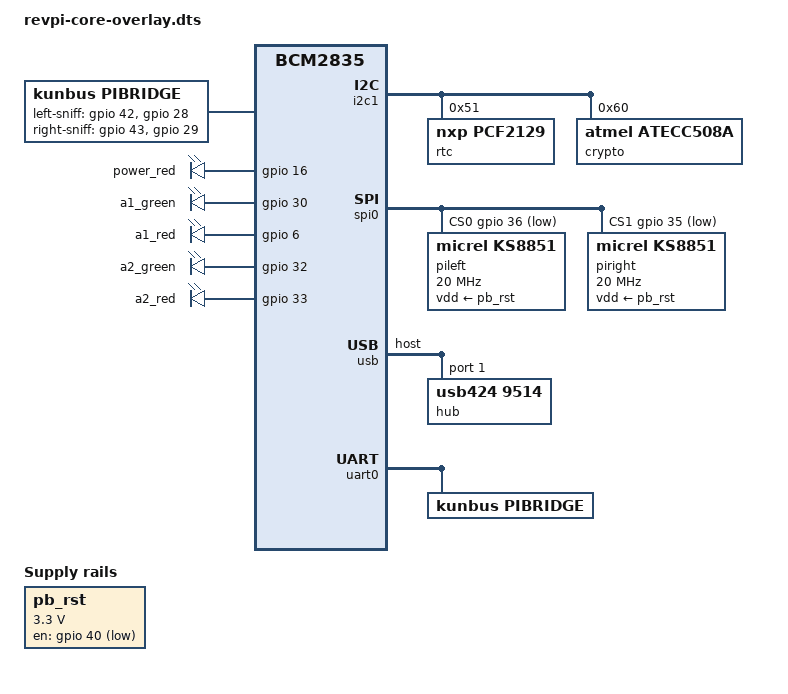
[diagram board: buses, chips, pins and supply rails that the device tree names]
/*
 * Device tree overlay for Revolution Pi by KUNBUS
 *
 * RevPi Core 3
 */

/dts-v1/;
/plugin/;
#include <dt-bindings/gpio/gpio.h>
#include <dt-bindings/pinctrl/bcm2835.h>

/{
	compatible = "brcm,bcm2835", "brcm,bcm2837";

	fragment@0 {
		target-path = "/";
		__overlay__ {
			compatible = "kunbus,revpi-core", "brcm,bcm2837",
				     "brcm,bcm2836", "brcm,bcm2835";

			pibridge {
				compatible = "kunbus,pibridge";
				pinctrl-names = "default";
				pinctrl-0 = <&sniff_pins>;

				/* Sniff pins 1A and 2A */
				left-sniff-gpios = <&gpio 42 GPIO_ACTIVE_HIGH>,
						   <&gpio 28 GPIO_ACTIVE_HIGH>;
				/* Sniff pins 1B and 2B */
				right-sniff-gpios = <&gpio 43 GPIO_ACTIVE_HIGH>,
						    <&gpio 29 GPIO_ACTIVE_HIGH>;
			};
			/*
			   The reset of the KSZ8851 used for the pibridge has a
			   circuit, which keeps it pulled for up to 80ms. To
			   workaroud this issue, a regulator is used. The
			   circuit implements a reset instead of a n_reset.
			*/
			pb_rst: regulator_pbrst {
				compatible = "regulator-fixed";
				pinctrl-names = "default";
				pinctrl-0 = <&eth1_2_reset_pins>;
				regulator-name = "pb_rst";
				regulator-min-microvolt = <3300000>;
				regulator-max-microvolt = <3300000>;
				gpio = <&gpio 40 GPIO_ACTIVE_LOW>;
				startup-delay-us = <80000>;
			};

			leds {
				compatible = "gpio-leds";
				pinctrl-names = "default";
				pinctrl-0 = <&led_pins>;

				power_red {
					gpios = <&gpio 16 GPIO_ACTIVE_HIGH>;
					linux,default-trigger = "power_red";
				};
				a1_green {
					gpios = <&gpio 30 GPIO_ACTIVE_HIGH>;
					linux,default-trigger = "a1_green";
				};
				a1_red {
					gpios = <&gpio  6 GPIO_ACTIVE_HIGH>;
					linux,default-trigger = "a1_red";
				};
				a2_green {
					gpios = <&gpio 32 GPIO_ACTIVE_HIGH>;
					linux,default-trigger = "a2_green";
				};
				a2_red {
					gpios = <&gpio 33 GPIO_ACTIVE_HIGH>;
					linux,default-trigger = "a2_red";
				};
				led-act {
					status = "disabled";
				};
			};
		};
	};

	fragment@1 {
		target = <&gpio>;
		__overlay__ {
			eth1_2_reset_pins: eth1_2_reset_pins {
				/* resets both chips */
				brcm,pins     = <40>;
				brcm,function = <BCM2835_FSEL_GPIO_OUT>;
				brcm,pull     = <BCM2835_PUD_OFF>;
			};
			sniff_pins: sniff_pins {
				/* 1A 2A 1B 2B */
				brcm,pins     = <42 28 43 29>;
				brcm,function = <BCM2835_FSEL_GPIO_IN>;
				brcm,pull     = <BCM2835_PUD_OFF
						 BCM2835_PUD_DOWN
						 BCM2835_PUD_OFF
						 BCM2835_PUD_OFF>;
			};
			led_pins: led_pins {
				/* pwr_red a1_green a1_red a2_green a2_red */
				brcm,pins     = <16 30 6 32 33>;
				brcm,function = <BCM2835_FSEL_GPIO_OUT>;
				brcm,pull     = <BCM2835_PUD_OFF>;
			};
			rs485_pins: rs485_pins {
				/* tx rx rts term */
				brcm,pins     = <14 15 17 41>;
				brcm,function = <BCM2835_FSEL_ALT0
						 BCM2835_FSEL_ALT0
						 BCM2835_FSEL_ALT3
						 BCM2835_FSEL_GPIO_OUT>;
				brcm,pull     = <BCM2835_PUD_OFF
						 BCM2835_PUD_UP
						 BCM2835_PUD_OFF
						 BCM2835_PUD_OFF>;

			};
		};
	};

	fragment@2 {
		target = <&i2c1_pins>;
		__overlay__ {
			/* sda scl */
			brcm,pins     = <44 45>;
			brcm,function = <BCM2835_FSEL_ALT2>;
			brcm,pull     = <BCM2835_PUD_OFF>;
		};
	};

	fragment@3 {
		target = <&i2c1>;
		__overlay__ {
			pinctrl-names = "default";
			pinctrl-0 = <&i2c1_pins>;
			#address-cells = <1>;
			#size-cells = <0>;
			status = "okay";

			rtc@51 {
				compatible = "nxp,pcf2129";
				reg = <0x51>;
				status = "okay";
			};

			crypto@60 {
				compatible = "atmel,atecc508a";
				reg = <0x60>;
				status = "okay";
			};
		};
	};

	fragment@4 {
		target = <&spidev0>;
		__overlay__ {
			status = "disabled";
		};
	};

	fragment@5 {
		target = <&spidev1>;
		__overlay__ {
			status = "disabled";
		};
	};

	fragment@6 {
		target = <&spi0_pins>;
		__overlay__ {
			/* miso mosi clock */
			brcm,pins     = <37 38 39>;
			brcm,function = <BCM2835_FSEL_ALT0>;
			brcm,pull     = <BCM2835_PUD_OFF>;
		};
	};

	fragment@7 {
		target = <&spi0_cs_pins>;
		__overlay__ {
			brcm,pins     = <36 35>;
			brcm,function = <BCM2835_FSEL_GPIO_OUT>;
			brcm,pull     = <BCM2835_PUD_OFF>;
		};
	};

	fragment@8 {
		target = <&spi0>;
		__overlay__ {
			pinctrl-names = "default";
			pinctrl-0 = <&spi0_pins>, <&spi0_cs_pins>;
			cs-gpios = <&gpio 36 GPIO_ACTIVE_LOW>,
				   <&gpio 35 GPIO_ACTIVE_LOW>;
			#address-cells = <1>;
			#size-cells = <0>;
			status = "okay";

			/*
			 The spi-max-frequency is set to 20MHz because of hardware limitations.
			 The KSZ8851 support up to 40MHz, but because of the poor signal quality of the
			 SPI on the BCM28xx/BCM27xx only ~29MHz can be achieved. To be on the safe
			 side we limit the spi-max-frequency to 20MHz.
			 Even for this the drive strength needs to be at least 8mA.
			*/
			pileft: ethernet@0 {
				/* PiBridge Ethernet left */
				compatible = "micrel,ks8851";
				reg = <0>;
				spi-max-frequency = <20000000>;	/* <= 40 MHz */
				interrupts = <0x80000000>;  /* not connected */
				vdd-supply = <&pb_rst>;
				status = "okay";
			};

			piright: ethernet@1 {
				/* PiBridge Ethernet right */
				compatible = "micrel,ks8851";
				reg = <1>;
				spi-max-frequency = <20000000>;	/* <= 40 MHz */
				interrupts = <0x80000000>;  /* not connected */
				vdd-supply = <&pb_rst>;
				status = "okay";
			};
		};
	};

	fragment@9 {
		target = <&usb>;
		#address-cells = <1>;
		#size-cells = <1>;
		dwc2_usb: __overlay__ {
			compatible = "brcm,bcm2835-usb";
			dr_mode = "host";
			g-np-tx-fifo-size = <32>;
			g-rx-fifo-size = <558>;
			g-tx-fifo-size = <512 512 512 512 512 256 256>;
			status = "okay";

			hub@1 {
				compatible = "usb424,9514"; /* SMSC LAN9514 */
				reg = <1>;
				#address-cells = <1>;
				#size-cells = <0>;

				eth0: ethernet@1 {
					compatible = "usb424,ec00";
					reg = <1>;
				};
			};
		};
	};

	fragment@10 {
		target = <&uart0>;
		__overlay__ {
			pinctrl-names = "default";
			pinctrl-0 = <&rs485_pins>;
			linux,rs485-enabled-at-boot-time;
			status = "okay";

			pibridge {
				compatible = "kunbus,pibridge";
				current-speed = <115200>;
			};
		};
	};

	__overrides__ {
		eth0_mac_hi = <&eth0>,"local-mac-address:0";
		eth0_mac_lo = <&eth0>,"local-mac-address;4";
		pileft_mac_hi = <&pileft>,"local-mac-address:0";
		pileft_mac_lo = <&pileft>,"local-mac-address;4";
		piright_mac_hi = <&piright>,"local-mac-address:0";
		piright_mac_lo = <&piright>,"local-mac-address;4";
	};
};
